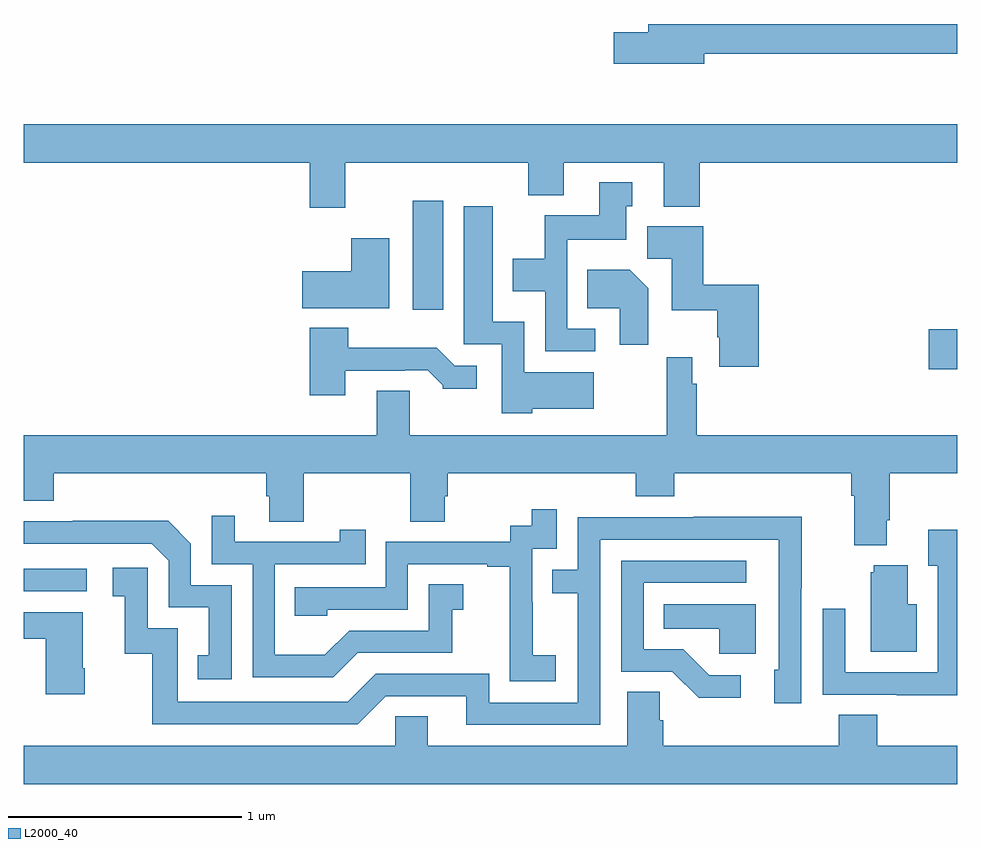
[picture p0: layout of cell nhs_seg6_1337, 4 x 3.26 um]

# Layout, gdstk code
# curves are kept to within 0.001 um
import gdstk
lib = gdstk.Library(unit=1e-6, precision=1e-09)
def R(c, l, rs):  # rectangles x0, y0, x1, y1
    for r in rs: c.add(gdstk.rectangle(r[:2], r[2:], *l))
def P(c, l, *ps):  # polygons
    for p in ps: c.add(gdstk.Polygon(p, *l))
L2000_40 = (2000, 40)

nhs_seg6_1337 = lib.new_cell('nhs_seg6_1337')
R(nhs_seg6_1337, L2000_40, [(193,934.842,193.27,934.938), (196.878,935.795,197,935.966), (194.666,936.048,194.797,936.517)])
P(nhs_seg6_1337, L2000_40, [(195.916,937.146),(197,937.146),(197,937.274),(195.677,937.274),(195.677,937.238),(195.528,937.238),(195.528,937.103),(195.916,937.103)],
  [(194.377,936.68),(195.161,936.68),(195.161,936.539),(195.313,936.539),(195.313,936.68),(195.743,936.68),(195.743,936.491),(195.896,936.491),(195.896,936.68),(197,936.68),(197,936.844),(193,936.844),(193,936.68),(194.225,936.68),(194.225,936.486),(194.377,936.486)],
  [(195.448,935.967),(195.33,935.967),(195.33,936.35),(195.583,936.35),(195.583,936.492),(195.607,936.492),(195.607,936.595),(195.467,936.595),(195.467,936.454),(195.232,936.454),(195.232,936.268),(195.095,936.268),(195.095,936.128),(195.234,936.128),(195.234,935.871),(195.448,935.871)],
  [(195.18,935.624),(195.442,935.624),(195.442,935.782),(195.144,935.782),(195.144,935.998),(195.01,935.998),(195.01,936.493),(194.885,936.493),(194.885,935.901),(195.048,935.901),(195.048,935.606),(195.18,935.606)],
  [(196.151,936.157),(195.911,936.157),(195.911,936.406),(195.671,936.406),(195.671,936.268),(195.776,936.268),(195.776,936.047),(195.973,936.047),(195.973,935.932),(195.98,935.932),(195.98,935.805),(196.151,935.805)],
  [(194.566,936.355),(194.402,936.355),(194.402,936.214),(194.193,936.214),(194.193,936.056),(194.566,936.056)],
  [(195.676,936.142),(195.598,936.22),(195.415,936.22),(195.415,936.056),(195.554,936.056),(195.554,935.898),(195.676,935.898)],
  [(194.377,935.787),(194.633,935.787),(194.633,935.79),(194.732,935.79),(194.796,935.726),(194.796,935.711),(194.941,935.711),(194.941,935.808),(194.847,935.808),(194.769,935.887),(194.39,935.887),(194.39,935.971),(194.225,935.971),(194.225,935.682),(194.377,935.682)],
  [(195.884,935.732),(195.864,935.732),(195.864,935.845),(195.756,935.845),(195.756,935.512),(194.653,935.512),(194.653,935.702),(194.513,935.702),(194.513,935.512),(193,935.512),(193,935.231),(193.127,935.231),(193.127,935.348),(194.039,935.348),(194.039,935.25),(194.051,935.25),(194.051,935.14),(194.199,935.14),(194.199,935.348),(194.656,935.348),(194.656,935.14),(194.803,935.14),(194.803,935.25),(194.816,935.25),(194.816,935.348),(195.623,935.348),(195.623,935.249),(195.788,935.249),(195.788,935.348),(196.547,935.348),(196.547,935.252),(196.559,935.252),(196.559,935.039),(196.699,935.039),(196.699,935.146),(196.712,935.146),(196.712,935.348),(197,935.348),(197,935.512),(195.884,935.512)],
  [(195.28,934.567),(195.182,934.567),(195.182,934.796),(195.18,934.796),(195.18,935.025),(195.285,935.025),(195.285,935.194),(195.177,935.194),(195.177,935.124),(195.084,935.124),(195.084,935.055),(194.55,935.055),(194.55,934.86),(194.161,934.86),(194.161,934.737),(194.301,934.737),(194.301,934.764),(194.646,934.764),(194.646,934.959),(194.987,934.959),(194.987,934.947),(195.083,934.947),(195.083,934.663),(195.082,934.663),(195.082,934.457),(195.28,934.457)],
  [(194.431,934.578),(194.835,934.578),(194.835,934.763),(194.884,934.763),(194.884,934.873),(194.736,934.873),(194.736,934.674),(194.394,934.674),(194.29,934.57),(194.076,934.57),(194.076,934.959),(194.465,934.959),(194.465,935.107),(194.354,935.107),(194.354,935.055),(193.903,935.055),(193.903,935.167),(193.806,935.167),(193.806,934.959),(193.98,934.959),(193.98,934.473),(194.326,934.473)],
  [(195.471,935.064),(196.235,935.064),(196.236,934.506),(196.217,934.506),(196.217,934.362),(196.332,934.362),(196.332,934.855),(196.335,934.855),(196.335,935.162),(195.871,935.162),(195.871,935.16),(195.375,935.16),(195.375,934.935),(195.265,934.935),(195.265,934.834),(195.375,934.834),(195.375,934.365),(194.994,934.365),(194.994,934.488),(194.508,934.488),(194.388,934.368),(193.659,934.368),(193.659,934.683),(193.53,934.683),(193.53,934.942),(193.38,934.942),(193.38,934.821),(193.433,934.821),(193.433,934.575),(193.551,934.575),(193.551,934.272),(194.43,934.272),(194.55,934.392),(194.897,934.392),(194.897,934.269),(195.471,934.269)],
  [(193.89,934.869),(193.716,934.869),(193.716,935.046),(193.618,935.144),(193.21,935.144),(193.21,935.142),(193,935.142),(193,935.046),(193.548,935.046),(193.62,934.974),(193.62,934.773),(193.793,934.773),(193.793,934.569),(193.744,934.569),(193.744,934.464),(193.89,934.464)],
  [(197,935.107),(196.877,935.107),(196.877,934.951),(196.917,934.951),(196.917,934.494),(196.521,934.494),(196.521,934.768),(196.425,934.768),(196.425,934.398),(196.741,934.398),(196.741,934.397),(197,934.397)],
  [(196.072,934.482),(195.937,934.482),(195.826,934.593),(195.657,934.593),(195.657,934.878),(196.096,934.878),(196.096,934.974),(195.561,934.974),(195.561,934.497),(195.78,934.497),(195.893,934.385),(196.072,934.385)],
  [(196.828,934.786),(196.789,934.786),(196.789,934.954),(196.643,934.954),(196.643,934.923),(196.631,934.923),(196.631,934.583),(196.828,934.583)],
  [(196.138,934.786),(195.742,934.786),(195.742,934.682),(195.981,934.682),(195.981,934.574),(196.138,934.574)],
  [(193.26,934.513),(193.252,934.513),(193.252,934.753),(193,934.753),(193,934.639),(193.094,934.639),(193.094,934.401),(193.26,934.401)],
  [(197,934.18),(196.658,934.18),(196.658,934.313),(196.493,934.313),(196.493,934.18),(195.74,934.18),(195.74,934.289),(195.726,934.289),(195.726,934.412),(195.587,934.412),(195.587,934.18),(194.731,934.18),(194.731,934.307),(194.592,934.307),(194.592,934.18),(193,934.18),(193,934.016),(197,934.016)])

lib.write_gds('nhs_seg6_1337.gds')
